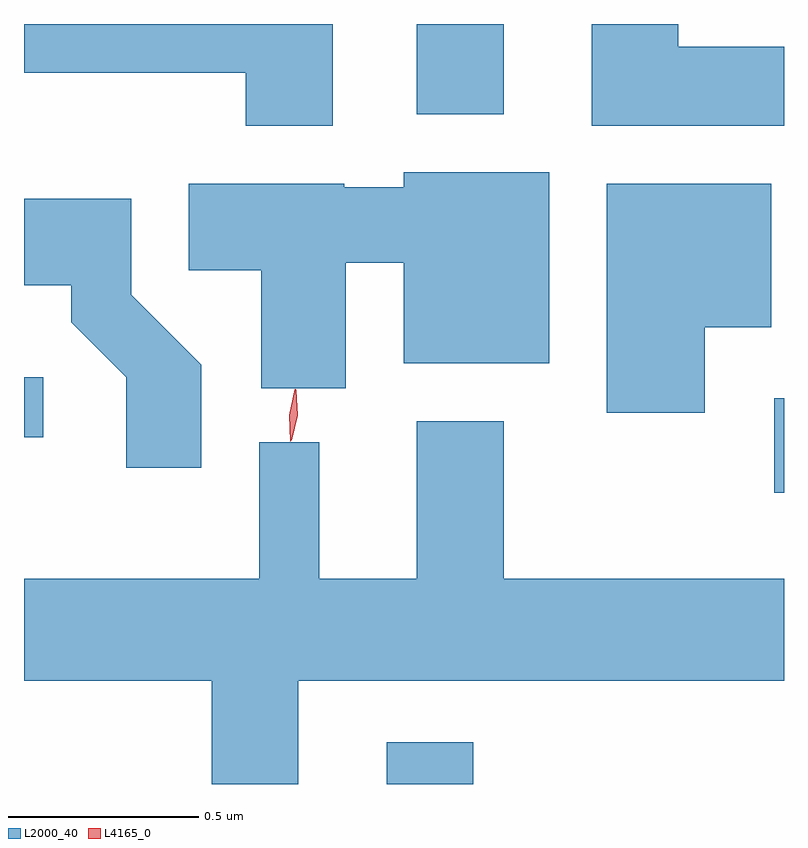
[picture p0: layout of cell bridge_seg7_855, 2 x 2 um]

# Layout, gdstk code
import gdstk
lib = gdstk.Library(unit=1e-6, precision=1e-09)
def R(c, l, rs):  # rectangles x0, y0, x1, y1
    for r in rs: c.add(gdstk.rectangle(r[:2], r[2:], *l))
def P(c, l, *ps):  # polygons
    for p in ps: c.add(gdstk.Polygon(p, *l))
L2000_40 = (2000, 40)
L4165_0 = (4165, 0)

bridge_seg7_855 = lib.new_cell('bridge_seg7_855')
R(bridge_seg7_855, L2000_40, [(212.651,1756.224,212.879,1756.334), (213.671,1756.991,213.697,1757.239), (211.697,1757.136,211.748,1757.294), (212.731,1757.986,212.959,1758.224)])
P(bridge_seg7_855, L2000_40, [(212.509,1758.224),(211.697,1758.224),(211.697,1758.096),(212.281,1758.096),(212.281,1757.956),(212.509,1757.956)],
  [(213.697,1758.164),(213.419,1758.164),(213.419,1758.224),(213.191,1758.224),(213.191,1757.956),(213.697,1757.956)],
  [(212.544,1757.596),(212.696,1757.596),(212.696,1757.331),(213.079,1757.331),(213.079,1757.834),(212.696,1757.834),(212.696,1757.794),(212.54,1757.794),(212.54,1757.804),(212.131,1757.804),(212.131,1757.576),(212.321,1757.576),(212.321,1757.266),(212.544,1757.266)],
  [(213.489,1757.426),(213.664,1757.426),(213.664,1757.804),(213.231,1757.804),(213.231,1757.201),(213.489,1757.201)],
  [(212.164,1757.327),(211.979,1757.512),(211.979,1757.764),(211.697,1757.764),(211.697,1757.536),(211.821,1757.536),(211.821,1757.439),(211.966,1757.294),(211.966,1757.056),(212.164,1757.056)],
  [(212.419,1756.496),(213.697,1756.496),(213.697,1756.764),(212.959,1756.764),(212.959,1757.179),(212.731,1757.179),(212.731,1756.764),(212.474,1756.764),(212.474,1757.123),(212.316,1757.123),(212.316,1756.764),(211.697,1756.764),(211.697,1756.496),(212.191,1756.496),(212.191,1756.224),(212.419,1756.224)])
P(bridge_seg7_855, L4165_0, [(212.4,1757.129),(212.397,1757.196),(212.413,1757.26),(212.413,1757.261),(212.414,1757.26),(212.417,1757.194),(212.401,1757.129),(212.401,1757.129)],
  [(212.398,1757.126),(212.398,1757.126),(212.395,1757.195),(212.41,1757.263),(212.411,1757.263),(212.412,1757.263),(212.414,1757.194),(212.399,1757.126)])

lib.write_gds('bridge_seg7_855.gds')
